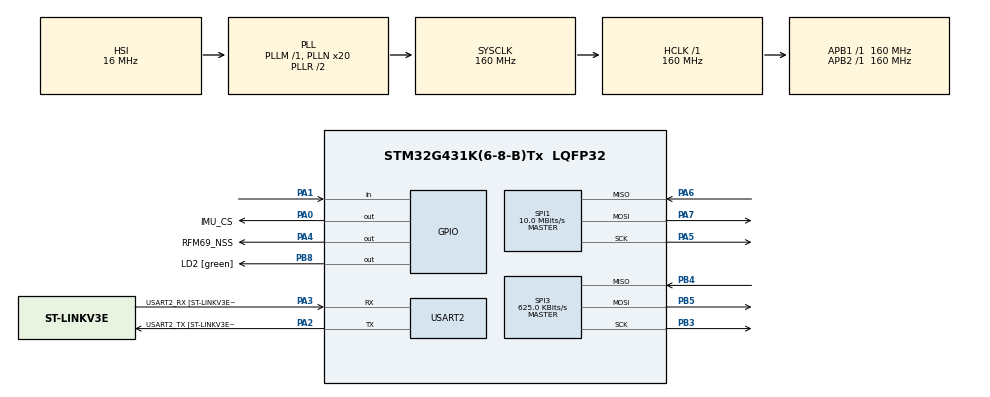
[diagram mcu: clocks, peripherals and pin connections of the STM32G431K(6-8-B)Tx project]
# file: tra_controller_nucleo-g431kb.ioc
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Mcu.Family=STM32G4
Mcu.Name=STM32G431K(6-8-B)Tx
Mcu.Package=LQFP32
NVIC.PriorityGroup=NVIC_PRIORITYGROUP_4
NVIC.TIM6_DAC_IRQn=true\:0\:0\:false\:false\:true\:true\:true\:true
PA0.GPIO_Label=IMU_CS
PA0.Signal=GPIO_Output
PA1.Signal=GPIO_Input
PA13.GPIO_Label=T_SWDIO
PA13.Mode=Serial_Wire
PA13.Signal=SYS_JTMS-SWDIO
PA14.GPIO_Label=T_SWCLK
PA14.Mode=Serial_Wire
PA14.Signal=SYS_JTCK-SWCLK
PA2.GPIO_Label=USART2_TX [ST-LINKV3E_VCP_RX]
PA2.Mode=Asynchronous
PA2.Signal=USART2_TX
PA3.GPIO_Label=USART2_RX [ST-LINKV3E_VCP_TX]
PA3.Mode=Asynchronous
PA3.Signal=USART2_RX
PA4.GPIO_Label=RFM69_NSS
PA4.Signal=GPIO_Output
PA5.Mode=Full_Duplex_Master
PA5.Signal=SPI1_SCK
PA6.Mode=Full_Duplex_Master
PA6.Signal=SPI1_MISO
PA7.Mode=Full_Duplex_Master
PA7.Signal=SPI1_MOSI
PB3.Mode=Full_Duplex_Master
PB3.Signal=SPI3_SCK
PB4.Mode=Full_Duplex_Master
PB4.Signal=SPI3_MISO
PB5.Mode=Full_Duplex_Master
PB5.Signal=SPI3_MOSI
PB8-BOOT0.GPIO_Label=LD2 [green]
PB8-BOOT0.Signal=GPIO_Output
ProjectManager.HeapSize=0x200
ProjectManager.StackSize=0x400
ProjectManager.TargetToolchain=STM32CubeIDE
RCC.ADC12Freq_Value=160000000
RCC.AHBFreq_Value=160000000
RCC.APB1Freq_Value=160000000
RCC.APB1TimFreq_Value=160000000
RCC.APB2Freq_Value=160000000
RCC.APB2TimFreq_Value=160000000
RCC.CortexFreq_Value=160000000
RCC.EXTERNAL_CLOCK_VALUE=12288000
RCC.HCLKFreq_Value=160000000
RCC.HSE_VALUE=8000000
RCC.HSI48_VALUE=48000000
RCC.HSI_VALUE=16000000
RCC.LSE_VALUE=32768
RCC.PLLN=20
RCC.SYSCLKFreq_VALUE=160000000
RCC.SYSCLKSource=RCC_SYSCLKSOURCE_PLLCLK
RCC.USBFreq_Value=160000000
RCC.VCOOutputFreq_Value=320000000
SPI1.BaudRatePrescaler=SPI_BAUDRATEPRESCALER_16
SPI1.CalculateBaudRate=10.0 MBits/s
SPI1.DataSize=SPI_DATASIZE_8BIT
SPI1.Direction=SPI_DIRECTION_2LINES
SPI1.Mode=SPI_MODE_MASTER
SPI1.VirtualType=VM_MASTER
SPI3.BaudRatePrescaler=SPI_BAUDRATEPRESCALER_256
SPI3.CalculateBaudRate=625.0 KBits/s
SPI3.DataSize=SPI_DATASIZE_8BIT
SPI3.Direction=SPI_DIRECTION_2LINES
SPI3.Mode=SPI_MODE_MASTER
SPI3.VirtualType=VM_MASTER
TIM6.PeriodNoDither=63999
TIM6.Prescaler=249
USART2.VirtualMode-Asynchronous=VM_ASYNC
USART2.WordLength=WORDLENGTH_8B
VP_TIM6_VS_ClockSourceINT.Mode=Enable_Timer
board=NUCLEO-G431KB

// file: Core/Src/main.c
/* USER CODE BEGIN Header */
/**
  ******************************************************************************
  * @file           : main.c
  * @brief          : Main program body
  ******************************************************************************
  * @attention
  *
  * Copyright (c) 2022 STMicroelectronics.
  * All rights reserved.
  *
  * This software is licensed under terms that can be found in the LICENSE file
  * in the root directory of this software component.
  * If no LICENSE file comes with this software, it is provided AS-IS.
  *
  ******************************************************************************
  */
/* USER CODE END Header */
#include "main.h"

/* USER CODE BEGIN Includes */
#include "RFM69.h"
#include "RFM69_ext.h"

#include "MPU9250.h"
/* USER CODE END Includes */

SPI_HandleTypeDef hspi1;
SPI_HandleTypeDef hspi3;

TIM_HandleTypeDef htim6;

UART_HandleTypeDef huart2;

void SystemClock_Config(void);
static void MX_GPIO_Init(void);
static void MX_USART2_UART_Init(void);
static void MX_SPI1_Init(void);
static void MX_SPI3_Init(void);
static void MX_TIM6_Init(void);

/* USER CODE BEGIN 0 */
uint8_t SPI_transfer8(uint8_t byte)     // function to transfer 1byte on SPI with readback
{
  uint8_t response = 0;
  HAL_SPI_TransmitReceive(&hspi1, &byte, &response, 1, 100);
  return response;
}

void SerialPrint(char* data)            // function to print to serial port a string
{
  HAL_UART_Transmit(&huart2, data, strlen(data), 100);
}

typedef struct Feedback {
  int16_t accX;
  int16_t accY;
  int16_t accZ;
  int16_t gyrX;
  int16_t gyrY;
  int16_t gyrZ;
  int16_t magX;
  int16_t magY;
  int16_t magZ;
  uint16_t end;
} Feedback;

bool shouldUpdate = false;

void HAL_TIM_PeriodElapsedCallback(TIM_HandleTypeDef *htim) {
  shouldUpdate = true;
}
/* USER CODE END 0 */

int main(void)
{
  /* USER CODE BEGIN 1 */
  int16_t AccData[3], GyroData[3], MagData[3];
  Feedback feedback = {.end = 0xAAAA};
  /* USER CODE END 1 */

  /* MCU Configuration--------------------------------------------------------*/

  /* Reset of all peripherals, Initializes the Flash interface and the Systick. */
  HAL_Init();

  /* Configure the system clock */
  SystemClock_Config();

  /* Initialize all configured peripherals */
  MX_GPIO_Init();
  MX_USART2_UART_Init();
  MX_SPI1_Init();
  MX_SPI3_Init();
  MX_TIM6_Init();
  /* USER CODE BEGIN 2 */
  MPU9250_Init(&hspi3);

  RFM69_initialize(RF69_868MHZ, 2, 1);
  RFM69_setMode(RF69_MODE_RX);

  uint8_t receiveMeta[4] = {0, 0, 0, 0};
  uint8_t receiveBuffer[64];

  RFM69_receiveBegin();

  HAL_TIM_Base_Start_IT(&htim6);
  /* USER CODE END 2 */

  /* Infinite loop */
  while (1)
  {

    /* USER CODE BEGIN 3 */
    if (RFM69_receiveDone()) {
      uint8_t dataLength = RFM69_getDataLength();

      receiveMeta[0] = RFM69_getSenderID();
      receiveMeta[1] = RFM69_getTargetID();
      receiveMeta[2] = dataLength;
      receiveMeta[3] = RFM69_getPayloadLength();

      uint8_t* data = RFM69_getData();

      memcpy(receiveBuffer, data, dataLength);
      receiveBuffer[dataLength] = 0xAA;
      receiveBuffer[dataLength + 1] = 0xAA;

      HAL_GPIO_TogglePin(LD2_GPIO_Port, LD2_Pin);

      //HAL_UART_Transmit(&huart2, receiveBuffer, dataLength + 2, 1000);

      //HAL_UART_Transmit(&huart2, receiveMeta, 4, 1000);
    }

    if (shouldUpdate) {
      shouldUpdate = false;

      HAL_GPIO_TogglePin(LD2_GPIO_Port, LD2_Pin);

      MPU9250_GetData(&hspi3, AccData, GyroData, MagData);

      feedback.accX = AccData[0];
      feedback.accY = AccData[1];
      feedback.accZ = AccData[2];
      feedback.gyrX = GyroData[0];
      feedback.gyrY = GyroData[1];
      feedback.gyrZ = GyroData[2];
      feedback.magX = MagData[0];
      feedback.magY = MagData[1];
      feedback.magZ = MagData[2];

      HAL_UART_Transmit(&huart2, &feedback, sizeof feedback, 1000);
    }
  }
  /* USER CODE END 3 */
}

void SystemClock_Config(void)
{
  RCC_OscInitTypeDef RCC_OscInitStruct = {0};
  RCC_ClkInitTypeDef RCC_ClkInitStruct = {0};

  /** Configure the main internal regulator output voltage
  */
  HAL_PWREx_ControlVoltageScaling(PWR_REGULATOR_VOLTAGE_SCALE1_BOOST);

  /** Initializes the RCC Oscillators according to the specified parameters
  * in the RCC_OscInitTypeDef structure.
  */
  RCC_OscInitStruct.OscillatorType = RCC_OSCILLATORTYPE_HSI;
  RCC_OscInitStruct.HSIState = RCC_HSI_ON;
  RCC_OscInitStruct.HSICalibrationValue = RCC_HSICALIBRATION_DEFAULT;
  RCC_OscInitStruct.PLL.PLLState = RCC_PLL_ON;
  RCC_OscInitStruct.PLL.PLLSource = RCC_PLLSOURCE_HSI;
  RCC_OscInitStruct.PLL.PLLM = RCC_PLLM_DIV1;
  RCC_OscInitStruct.PLL.PLLN = 20;
  RCC_OscInitStruct.PLL.PLLP = RCC_PLLP_DIV2;
  RCC_OscInitStruct.PLL.PLLQ = RCC_PLLQ_DIV2;
  RCC_OscInitStruct.PLL.PLLR = RCC_PLLR_DIV2;
  if (HAL_RCC_OscConfig(&RCC_OscInitStruct) != HAL_OK)
  {
    Error_Handler();
  }

  /** Initializes the CPU, AHB and APB buses clocks
  */
  RCC_ClkInitStruct.ClockType = RCC_CLOCKTYPE_HCLK|RCC_CLOCKTYPE_SYSCLK
                              |RCC_CLOCKTYPE_PCLK1|RCC_CLOCKTYPE_PCLK2;
  RCC_ClkInitStruct.SYSCLKSource = RCC_SYSCLKSOURCE_PLLCLK;
  RCC_ClkInitStruct.AHBCLKDivider = RCC_SYSCLK_DIV1;
  RCC_ClkInitStruct.APB1CLKDivider = RCC_HCLK_DIV1;
  RCC_ClkInitStruct.APB2CLKDivider = RCC_HCLK_DIV1;

  if (HAL_RCC_ClockConfig(&RCC_ClkInitStruct, FLASH_LATENCY_4) != HAL_OK)
  {
    Error_Handler();
  }
}

static void MX_SPI1_Init(void)
{

  /* SPI1 parameter configuration*/
  hspi1.Instance = SPI1;
  hspi1.Init.Mode = SPI_MODE_MASTER;
  hspi1.Init.Direction = SPI_DIRECTION_2LINES;
  hspi1.Init.DataSize = SPI_DATASIZE_8BIT;
  hspi1.Init.CLKPolarity = SPI_POLARITY_LOW;
  hspi1.Init.CLKPhase = SPI_PHASE_1EDGE;
  hspi1.Init.NSS = SPI_NSS_SOFT;
  hspi1.Init.BaudRatePrescaler = SPI_BAUDRATEPRESCALER_16;
  hspi1.Init.FirstBit = SPI_FIRSTBIT_MSB;
  hspi1.Init.TIMode = SPI_TIMODE_DISABLE;
  hspi1.Init.CRCCalculation = SPI_CRCCALCULATION_DISABLE;
  hspi1.Init.CRCPolynomial = 7;
  hspi1.Init.CRCLength = SPI_CRC_LENGTH_DATASIZE;
  hspi1.Init.NSSPMode = SPI_NSS_PULSE_ENABLE;
  if (HAL_SPI_Init(&hspi1) != HAL_OK)
  {
    Error_Handler();
  }

}

static void MX_SPI3_Init(void)
{

  /* SPI3 parameter configuration*/
  hspi3.Instance = SPI3;
  hspi3.Init.Mode = SPI_MODE_MASTER;
  hspi3.Init.Direction = SPI_DIRECTION_2LINES;
  hspi3.Init.DataSize = SPI_DATASIZE_8BIT;
  hspi3.Init.CLKPolarity = SPI_POLARITY_LOW;
  hspi3.Init.CLKPhase = SPI_PHASE_1EDGE;
  hspi3.Init.NSS = SPI_NSS_SOFT;
  hspi3.Init.BaudRatePrescaler = SPI_BAUDRATEPRESCALER_256;
  hspi3.Init.FirstBit = SPI_FIRSTBIT_MSB;
  hspi3.Init.TIMode = SPI_TIMODE_DISABLE;
  hspi3.Init.CRCCalculation = SPI_CRCCALCULATION_DISABLE;
  hspi3.Init.CRCPolynomial = 7;
  hspi3.Init.CRCLength = SPI_CRC_LENGTH_DATASIZE;
  hspi3.Init.NSSPMode = SPI_NSS_PULSE_ENABLE;
  if (HAL_SPI_Init(&hspi3) != HAL_OK)
  {
    Error_Handler();
  }

}

static void MX_TIM6_Init(void)
{

  TIM_MasterConfigTypeDef sMasterConfig = {0};

  htim6.Instance = TIM6;
  htim6.Init.Prescaler = 249;
  htim6.Init.CounterMode = TIM_COUNTERMODE_UP;
  htim6.Init.Period = 63999;
  htim6.Init.AutoReloadPreload = TIM_AUTORELOAD_PRELOAD_DISABLE;
  if (HAL_TIM_Base_Init(&htim6) != HAL_OK)
  {
    Error_Handler();
  }
  sMasterConfig.MasterOutputTrigger = TIM_TRGO_RESET;
  sMasterConfig.MasterSlaveMode = TIM_MASTERSLAVEMODE_DISABLE;
  if (HAL_TIMEx_MasterConfigSynchronization(&htim6, &sMasterConfig) != HAL_OK)
  {
    Error_Handler();
  }

}

static void MX_USART2_UART_Init(void)
{

  huart2.Instance = USART2;
  huart2.Init.BaudRate = 115200;
  huart2.Init.WordLength = UART_WORDLENGTH_8B;
  huart2.Init.StopBits = UART_STOPBITS_1;
  huart2.Init.Parity = UART_PARITY_NONE;
  huart2.Init.Mode = UART_MODE_TX_RX;
  huart2.Init.HwFlowCtl = UART_HWCONTROL_NONE;
  huart2.Init.OverSampling = UART_OVERSAMPLING_16;
  huart2.Init.OneBitSampling = UART_ONE_BIT_SAMPLE_DISABLE;
  huart2.Init.ClockPrescaler = UART_PRESCALER_DIV1;
  huart2.AdvancedInit.AdvFeatureInit = UART_ADVFEATURE_NO_INIT;
  if (HAL_UART_Init(&huart2) != HAL_OK)
  {
    Error_Handler();
  }
  if (HAL_UARTEx_SetTxFifoThreshold(&huart2, UART_TXFIFO_THRESHOLD_1_8) != HAL_OK)
  {
    Error_Handler();
  }
  if (HAL_UARTEx_SetRxFifoThreshold(&huart2, UART_RXFIFO_THRESHOLD_1_8) != HAL_OK)
  {
    Error_Handler();
  }
  if (HAL_UARTEx_DisableFifoMode(&huart2) != HAL_OK)
  {
    Error_Handler();
  }

}

static void MX_GPIO_Init(void)
{
  GPIO_InitTypeDef GPIO_InitStruct = {0};

  /* GPIO Ports Clock Enable */
  __HAL_RCC_GPIOA_CLK_ENABLE();
  __HAL_RCC_GPIOB_CLK_ENABLE();

  /*Configure GPIO pin Output Level */
  HAL_GPIO_WritePin(GPIOA, IMU_CS_Pin|RFM69_NSS_Pin, GPIO_PIN_RESET);

  /*Configure GPIO pin Output Level */
  HAL_GPIO_WritePin(LD2_GPIO_Port, LD2_Pin, GPIO_PIN_RESET);

  /*Configure GPIO pins : IMU_CS_Pin RFM69_NSS_Pin */
  GPIO_InitStruct.Pin = IMU_CS_Pin|RFM69_NSS_Pin;
  GPIO_InitStruct.Mode = GPIO_MODE_OUTPUT_PP;
  GPIO_InitStruct.Pull = GPIO_NOPULL;
  GPIO_InitStruct.Speed = GPIO_SPEED_FREQ_LOW;
  HAL_GPIO_Init(GPIOA, &GPIO_InitStruct);

  /*Configure GPIO pin : PA1 */
  GPIO_InitStruct.Pin = GPIO_PIN_1;
  GPIO_InitStruct.Mode = GPIO_MODE_INPUT;
  GPIO_InitStruct.Pull = GPIO_NOPULL;
  HAL_GPIO_Init(GPIOA, &GPIO_InitStruct);

  /*Configure GPIO pin : LD2_Pin */
  GPIO_InitStruct.Pin = LD2_Pin;
  GPIO_InitStruct.Mode = GPIO_MODE_OUTPUT_PP;
  GPIO_InitStruct.Pull = GPIO_NOPULL;
  GPIO_InitStruct.Speed = GPIO_SPEED_FREQ_LOW;
  HAL_GPIO_Init(LD2_GPIO_Port, &GPIO_InitStruct);

}

void Error_Handler(void)
{
  __disable_irq();
  while (1)
  {
  }
}
